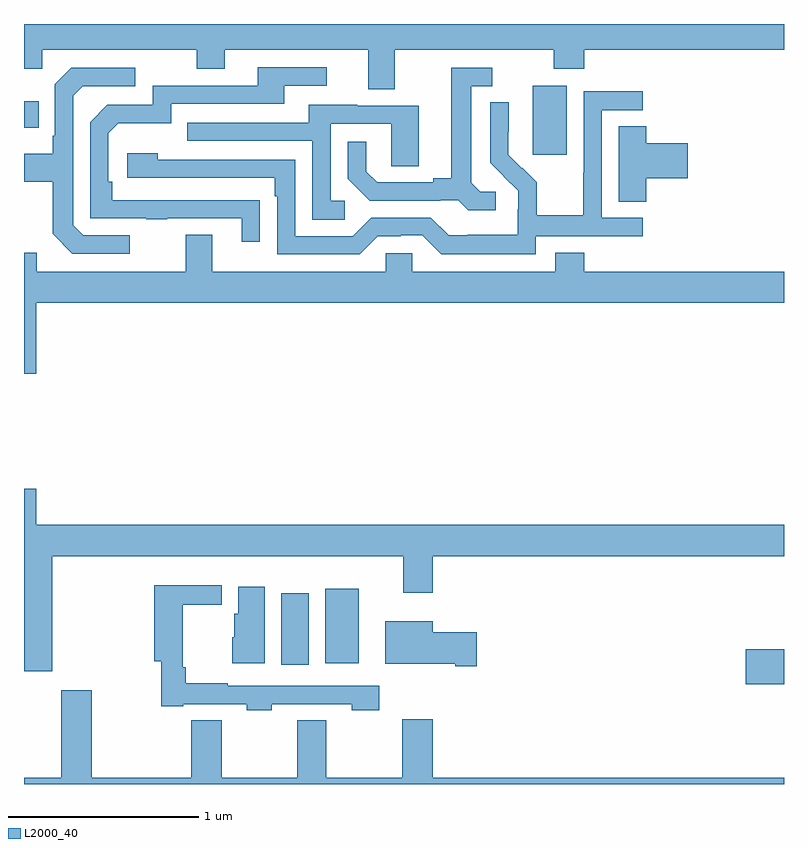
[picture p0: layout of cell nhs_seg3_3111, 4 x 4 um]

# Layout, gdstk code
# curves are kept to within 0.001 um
import gdstk
lib = gdstk.Library(unit=1e-6, precision=1e-09)
def R(c, l, rs):  # rectangles x0, y0, x1, y1
    for r in rs: c.add(gdstk.rectangle(r[:2], r[2:], *l))
def P(c, l, *ps):  # polygons
    for p in ps: c.add(gdstk.Polygon(p, *l))
L2000_40 = (2000, 40)

nhs_seg3_3111 = lib.new_cell('nhs_seg3_3111')
R(nhs_seg3_3111, L2000_40, [(276.798,682.925,277,683.108), (274.355,683.028,274.498,683.404), (274.586,683.036,274.762,683.428), (275.678,685.713,275.857,686.074), (273,685.853,273.077,685.993)])
P(nhs_seg3_3111, L2000_40, [(274.951,686.264),(275.788,686.264),(275.788,686.165),(275.948,686.165),(275.948,686.264),(277,686.264),(277,686.4),(273,686.4),(273,686.165),(273.096,686.165),(273.096,686.264),(273.91,686.264),(273.91,686.165),(274.057,686.165),(274.057,686.264),(274.811,686.264),(274.811,686.056),(274.951,686.056)],
  [(274.241,685.472),(273.464,685.473),(273.464,685.57),(273.444,685.57),(273.444,685.824),(273.497,685.877),(273.774,685.877),(273.774,685.98),(274.369,685.98),(274.369,686.076),(274.594,686.076),(274.594,686.172),(274.229,686.172),(274.229,686.076),(273.678,686.076),(273.678,685.974),(273.438,685.974),(273.348,685.884),(273.348,685.377),(273.643,685.377),(273.643,685.372),(273.755,685.372),(273.755,685.377),(274.145,685.377),(274.145,685.254),(274.241,685.254)],
  [(273.556,685.287),(273.312,685.287),(273.258,685.341),(273.258,686.022),(273.309,686.073),(273.586,686.073),(273.586,686.169),(273.249,686.169),(273.162,686.082),(273.162,685.813),(273.15,685.813),(273.15,685.717),(273,685.717),(273,685.57),(273.15,685.57),(273.15,685.297),(273.255,685.191),(273.556,685.191)],
  [(275.482,685.518),(275.4,685.518),(275.353,685.565),(275.353,686.073),(275.464,686.073),(275.464,686.169),(275.249,686.169),(275.249,685.589),(275.153,685.589),(275.153,685.566),(274.858,685.566),(274.801,685.623),(274.801,685.78),(274.704,685.78),(274.704,685.586),(274.82,685.47),(275.192,685.47),(275.192,685.473),(275.286,685.473),(275.338,685.421),(275.482,685.421)],
  [(275.694,685.284),(276.256,685.284),(276.256,685.38),(276.042,685.38),(276.042,685.947),(276.256,685.947),(276.256,686.046),(275.946,686.046),(275.946,685.616),(275.944,685.616),(275.944,685.393),(275.699,685.393),(275.699,685.567),(275.622,685.644),(275.619,685.641),(275.549,685.712),(275.55,685.988),(275.454,685.988),(275.454,685.67),(275.6,685.522),(275.6,685.425),(275.598,685.425),(275.598,685.291),(275.335,685.291),(275.335,685.287),(275.235,685.287),(275.142,685.38),(274.827,685.38),(274.731,685.284),(274.428,685.284),(274.428,685.686),(273.704,685.686),(273.704,685.72),(273.543,685.72),(273.543,685.59),(274.319,685.59),(274.319,685.493),(274.332,685.493),(274.332,685.188),(274.767,685.188),(274.863,685.284),(274.982,685.284),(274.982,685.287),(275.097,685.287),(275.197,685.187),(275.694,685.187)],
  [(274.687,685.47),(274.614,685.47),(274.614,685.875),(274.932,685.875),(274.932,685.651),(275.077,685.651),(275.077,685.971),(274.753,685.971),(274.753,685.975),(274.499,685.975),(274.499,685.881),(273.859,685.881),(273.859,685.785),(274.518,685.785),(274.518,685.369),(274.687,685.369)],
  [(276.275,685.589),(276.493,685.589),(276.493,685.772),(276.275,685.772),(276.275,685.862),(276.131,685.862),(276.131,685.465),(276.275,685.465)],
  [(273.064,684.932),(277,684.932),(277,685.096),(275.948,685.096),(275.948,685.195),(275.795,685.195),(275.795,685.096),(275.043,685.096),(275.043,685.194),(274.905,685.194),(274.905,685.096),(273.991,685.096),(273.991,685.291),(273.851,685.291),(273.851,685.096),(273.067,685.096),(273.067,685.195),(273,685.195),(273,684.558),(273.064,684.558)],
  [(273.148,683.6),(274.997,683.6),(274.997,683.406),(275.15,683.406),(275.15,683.6),(277,683.6),(277,683.764),(273.064,683.764),(273.064,683.953),(273,683.953),(273,682.994),(273.148,682.994)],
  [(274.305,682.821),(274.725,682.821),(274.725,682.789),(274.87,682.789),(274.87,682.917),(274.073,682.917),(274.073,682.93),(273.851,682.93),(273.851,683.014),(273.836,683.014),(273.836,683.344),(274.042,683.344),(274.042,683.446),(273.686,683.446),(273.686,683.045),(273.723,683.045),(273.723,682.809),(273.838,682.809),(273.838,682.821),(274.173,682.821),(274.173,682.789),(274.305,682.789)],
  [(274.267,683.437),(274.127,683.437),(274.127,683.295),(274.106,683.295),(274.106,683.172),(274.097,683.172),(274.097,683.036),(274.267,683.036)],
  [(275.383,683.199),(275.152,683.199),(275.152,683.257),(274.901,683.257),(274.901,683.033),(275.27,683.033),(275.27,683.021),(275.383,683.021)],
  [(277,682.432),(275.15,682.432),(275.15,682.741),(274.99,682.741),(274.99,682.432),(274.592,682.432),(274.592,682.736),(274.438,682.736),(274.438,682.432),(274.04,682.432),(274.04,682.736),(273.881,682.736),(273.881,682.432),(273.356,682.432),(273.356,682.894),(273.196,682.894),(273.196,682.432),(273,682.432),(273,682.4),(277,682.4)])

lib.write_gds('nhs_seg3_3111.gds')
